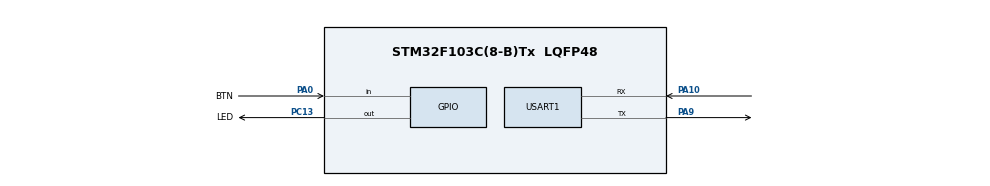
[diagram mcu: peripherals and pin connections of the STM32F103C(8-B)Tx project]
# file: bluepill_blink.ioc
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Mcu.Family=STM32F1
Mcu.Name=STM32F103C(8-B)Tx
Mcu.Package=LQFP48
NVIC.PriorityGroup=NVIC_PRIORITYGROUP_4
PA0-WKUP.GPIO_Label=BTN
PA0-WKUP.GPIO_PuPd=GPIO_PULLUP
PA0-WKUP.Signal=GPIO_Input
PA10.Mode=Asynchronous
PA10.Signal=USART1_RX
PA13.Mode=Trace_Asynchronous_SW
PA13.Signal=SYS_JTMS-SWDIO
PA14.Mode=Trace_Asynchronous_SW
PA14.Signal=SYS_JTCK-SWCLK
PA9.Mode=Asynchronous
PA9.Signal=USART1_TX
PB3.Mode=Trace_Asynchronous_SW
PB3.Signal=SYS_JTDO-TRACESWO
PC13-TAMPER-RTC.GPIO_Label=LED
PC13-TAMPER-RTC.GPIO_ModeDefaultOutputPP=GPIO_MODE_OUTPUT_OD
PC13-TAMPER-RTC.GPIO_PuPd=GPIO_NOPULL
PC13-TAMPER-RTC.PinState=GPIO_PIN_SET
PC13-TAMPER-RTC.Signal=GPIO_Output
PD0-OSC_IN.Mode=HSE-External-Oscillator
PD0-OSC_IN.Signal=RCC_OSC_IN
PD1-OSC_OUT.Mode=HSE-External-Oscillator
PD1-OSC_OUT.Signal=RCC_OSC_OUT
ProjectManager.HeapSize=0x200
ProjectManager.StackSize=0x400
ProjectManager.TargetToolchain=CMake
RCC.AHBFreq_Value=8000000
RCC.APB1CLKDivider=RCC_HCLK_DIV2
RCC.APB1Freq_Value=4000000
RCC.APB1TimFreq_Value=8000000
RCC.APB2Freq_Value=8000000
RCC.APB2TimFreq_Value=8000000
RCC.HCLKFreq_Value=8000000
RCC.SYSCLKFreq_VALUE=8000000
RCC.SYSCLKSource=RCC_SYSCLKSOURCE_PLLCLK
RCC.USBFreq_Value=8000000
USART1.VirtualMode=VM_ASYNC
board=custom

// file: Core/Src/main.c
/* USER CODE BEGIN Header */
/**
  ******************************************************************************
  * @file           : main.c
  * @brief          : Main program body
  ******************************************************************************
  * @attention
  *
  * Copyright (c) 2026 STMicroelectronics.
  * All rights reserved.
  *
  * This software is licensed under terms that can be found in the LICENSE file
  * in the root directory of this software component.
  * If no LICENSE file comes with this software, it is provided AS-IS.
  *
  ******************************************************************************
  */
/* USER CODE END Header */
#include "main.h"

/* USER CODE BEGIN Includes */
#include <stdio.h>

/* USER CODE END Includes */

UART_HandleTypeDef huart1;

/* USER CODE BEGIN PV */
uint8_t btn_press = 0, index = 0;
uint16_t rate[] = {500, 250, 100};
/* USER CODE END PV */

void SystemClock_Config(void);
static void MX_GPIO_Init(void);
static void MX_USART1_UART_Init(void);

/* USER CODE BEGIN 0 */

// Send printf to uart1
int _write(int fd, char* ptr, int len) {
  HAL_StatusTypeDef hstatus;

  if (fd == 1 || fd == 2) {
    hstatus = HAL_UART_Transmit(&huart1, (uint8_t *) ptr, len, HAL_MAX_DELAY);
    if (hstatus == HAL_OK)
      return len;
    else
      return -1;
  }
  return -1;
}

void HAL_GPIO_EXTI_Callback(uint16_t GPIO_Pin) {
  index = index == 2 ? 0 : index + 1;
  printf("Button pressed.\r\n");
}

/* USER CODE END 0 */

int main(void)
{

  /* MCU Configuration--------------------------------------------------------*/

  /* Reset of all peripherals, Initializes the Flash interface and the Systick. */
  HAL_Init();

  /* Configure the system clock */
  SystemClock_Config();

  /* Initialize all configured peripherals */
  MX_GPIO_Init();
  MX_USART1_UART_Init();
  /* USER CODE BEGIN 2 */

  printf("First application starting!\r\n");

  /* USER CODE END 2 */

  /* Infinite loop */
  /* USER CODE BEGIN WHILE */
  uint32_t now = 0, next_blink = rate[index], next_tick = 1000, loop_count = 0;

  while (1)
  {
    now = HAL_GetTick();
    if (now >= next_blink) {
      next_blink = now + rate[index];
      HAL_GPIO_TogglePin(LED_GPIO_Port, LED_Pin);
    }

    if (now >= next_tick) {
      printf("Tick %lu (loop count = %lu)\r\n", now/1000, loop_count);
      loop_count = 0;
      next_tick = now + 1000;
    }
    loop_count++;

    /* USER CODE END WHILE */

  }
}

void SystemClock_Config(void)
{
  RCC_OscInitTypeDef RCC_OscInitStruct = {0};
  RCC_ClkInitTypeDef RCC_ClkInitStruct = {0};

  /** Initializes the RCC Oscillators according to the specified parameters
  * in the RCC_OscInitTypeDef structure.
  */
  RCC_OscInitStruct.OscillatorType = RCC_OSCILLATORTYPE_HSE;
  RCC_OscInitStruct.HSEState = RCC_HSE_ON;
  RCC_OscInitStruct.HSEPredivValue = RCC_HSE_PREDIV_DIV1;
  RCC_OscInitStruct.HSIState = RCC_HSI_ON;
  RCC_OscInitStruct.PLL.PLLState = RCC_PLL_ON;
  RCC_OscInitStruct.PLL.PLLSource = RCC_PLLSOURCE_HSE;
  RCC_OscInitStruct.PLL.PLLMUL = RCC_PLL_MUL9;
  if (HAL_RCC_OscConfig(&RCC_OscInitStruct) != HAL_OK)
  {
    Error_Handler();
  }

  /** Initializes the CPU, AHB and APB buses clocks
  */
  RCC_ClkInitStruct.ClockType = RCC_CLOCKTYPE_HCLK|RCC_CLOCKTYPE_SYSCLK
                              |RCC_CLOCKTYPE_PCLK1|RCC_CLOCKTYPE_PCLK2;
  RCC_ClkInitStruct.SYSCLKSource = RCC_SYSCLKSOURCE_PLLCLK;
  RCC_ClkInitStruct.AHBCLKDivider = RCC_SYSCLK_DIV1;
  RCC_ClkInitStruct.APB1CLKDivider = RCC_HCLK_DIV2;
  RCC_ClkInitStruct.APB2CLKDivider = RCC_HCLK_DIV1;

  if (HAL_RCC_ClockConfig(&RCC_ClkInitStruct, FLASH_LATENCY_2) != HAL_OK)
  {
    Error_Handler();
  }
}

static void MX_USART1_UART_Init(void)
{

  huart1.Instance = USART1;
  huart1.Init.BaudRate = 115200;
  huart1.Init.WordLength = UART_WORDLENGTH_8B;
  huart1.Init.StopBits = UART_STOPBITS_1;
  huart1.Init.Parity = UART_PARITY_NONE;
  huart1.Init.Mode = UART_MODE_TX_RX;
  huart1.Init.HwFlowCtl = UART_HWCONTROL_NONE;
  huart1.Init.OverSampling = UART_OVERSAMPLING_16;
  if (HAL_UART_Init(&huart1) != HAL_OK)
  {
    Error_Handler();
  }

}

static void MX_GPIO_Init(void)
{
  GPIO_InitTypeDef GPIO_InitStruct = {0};

  /* GPIO Ports Clock Enable */
  __HAL_RCC_GPIOC_CLK_ENABLE();
  __HAL_RCC_GPIOD_CLK_ENABLE();
  __HAL_RCC_GPIOA_CLK_ENABLE();
  __HAL_RCC_GPIOB_CLK_ENABLE();

  /*Configure GPIO pin Output Level */
  HAL_GPIO_WritePin(LED_GPIO_Port, LED_Pin, GPIO_PIN_SET);

  /*Configure GPIO pin : LED_Pin */
  GPIO_InitStruct.Pin = LED_Pin;
  GPIO_InitStruct.Mode = GPIO_MODE_OUTPUT_OD;
  GPIO_InitStruct.Pull = GPIO_NOPULL;
  GPIO_InitStruct.Speed = GPIO_SPEED_FREQ_LOW;
  HAL_GPIO_Init(LED_GPIO_Port, &GPIO_InitStruct);

  /*Configure GPIO pin : BTN_Pin */
  GPIO_InitStruct.Pin = BTN_Pin;
  GPIO_InitStruct.Mode = GPIO_MODE_IT_RISING;
  GPIO_InitStruct.Pull = GPIO_PULLUP;
  HAL_GPIO_Init(BTN_GPIO_Port, &GPIO_InitStruct);

  /* EXTI interrupt init*/
  HAL_NVIC_SetPriority(EXTI0_IRQn, 0, 0);
  HAL_NVIC_EnableIRQ(EXTI0_IRQn);

}

void Error_Handler(void)
{
  __disable_irq();
  while (1)
  {
  }
}
